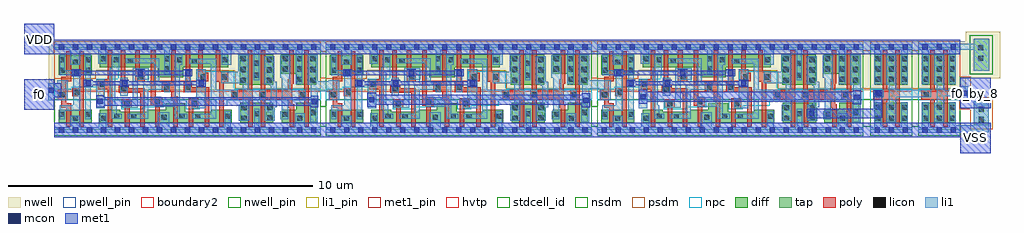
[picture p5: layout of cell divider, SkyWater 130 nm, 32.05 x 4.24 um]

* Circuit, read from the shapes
.subckt divider VDD VSS f0 f0_by_8
XM1 VSS f0 n1 VSS sky130_fd_pr__nfet_01v8 w=0.42 l=0.15
XM2 n2 n1 VSS VSS sky130_fd_pr__nfet_01v8 w=0.42 l=0.15
XM3 n3 sky130_fd_sc_hd__dfxbp_1_3/CLK VSS VSS sky130_fd_pr__nfet_01v8 w=0.42 l=0.15
XM4 n4 n1 n3 VSS sky130_fd_pr__nfet_01v8 w=0.36 l=0.15
XM5 n5 n2 n4 VSS sky130_fd_pr__nfet_01v8 w=0.36 l=0.15
XM6 VSS n6 n5 VSS sky130_fd_pr__nfet_01v8 w=0.42 l=0.15
XM7 n6 n4 VSS VSS sky130_fd_pr__nfet_01v8 w=0.64 l=0.15
XM8 n7 n2 n6 VSS sky130_fd_pr__nfet_01v8 w=0.36 l=0.15
XM9 n8 n1 n7 VSS sky130_fd_pr__nfet_01v8 w=0.36 l=0.15
XM10 VSS n9 n8 VSS sky130_fd_pr__nfet_01v8 w=0.42 l=0.15
XM11 VSS n7 n9 VSS sky130_fd_pr__nfet_01v8 w=0.65 l=0.15
XM12 sky130_fd_sc_hd__dfxbp_1_4/Q n9 VSS VSS sky130_fd_pr__nfet_01v8 w=0.65 l=0.15
XM13 VSS n9 n10 VSS sky130_fd_pr__nfet_01v8 w=0.42 l=0.15
XM14 sky130_fd_sc_hd__dfxbp_1_3/CLK n10 VSS VSS sky130_fd_pr__nfet_01v8 w=0.65 l=0.15
XM15 VSS sky130_fd_sc_hd__dfxbp_1_3/CLK n11 VSS sky130_fd_pr__nfet_01v8 w=0.42 l=0.15
XM16 n12 n11 VSS VSS sky130_fd_pr__nfet_01v8 w=0.42 l=0.15
XM17 n13 sky130_fd_sc_hd__dfxbp_1_2/CLK VSS VSS sky130_fd_pr__nfet_01v8 w=0.42 l=0.15
XM18 n14 n11 n13 VSS sky130_fd_pr__nfet_01v8 w=0.36 l=0.15
XM19 n15 n12 n14 VSS sky130_fd_pr__nfet_01v8 w=0.36 l=0.15
XM20 VSS n16 n15 VSS sky130_fd_pr__nfet_01v8 w=0.42 l=0.15
XM21 n16 n14 VSS VSS sky130_fd_pr__nfet_01v8 w=0.64 l=0.15
XM22 n17 n12 n16 VSS sky130_fd_pr__nfet_01v8 w=0.36 l=0.15
XM23 n18 n11 n17 VSS sky130_fd_pr__nfet_01v8 w=0.36 l=0.15
XM24 VSS n19 n18 VSS sky130_fd_pr__nfet_01v8 w=0.42 l=0.15
XM25 VSS n17 n19 VSS sky130_fd_pr__nfet_01v8 w=0.65 l=0.15
XM26 sky130_fd_sc_hd__dfxbp_1_3/Q n19 VSS VSS sky130_fd_pr__nfet_01v8 w=0.65 l=0.15
XM27 VSS n19 n20 VSS sky130_fd_pr__nfet_01v8 w=0.42 l=0.15
XM28 sky130_fd_sc_hd__dfxbp_1_2/CLK n20 VSS VSS sky130_fd_pr__nfet_01v8 w=0.65 l=0.15
XM29 VSS sky130_fd_sc_hd__dfxbp_1_2/CLK n21 VSS sky130_fd_pr__nfet_01v8 w=0.42 l=0.15
XM30 n22 n21 VSS VSS sky130_fd_pr__nfet_01v8 w=0.42 l=0.15
XM31 n23 sky130_fd_sc_hd__dfxbp_1_2/D VSS VSS sky130_fd_pr__nfet_01v8 w=0.42 l=0.15
XM32 n24 n21 n23 VSS sky130_fd_pr__nfet_01v8 w=0.36 l=0.15
XM33 n25 n22 n24 VSS sky130_fd_pr__nfet_01v8 w=0.36 l=0.15
XM34 VSS n26 n25 VSS sky130_fd_pr__nfet_01v8 w=0.42 l=0.15
XM35 n26 n24 VSS VSS sky130_fd_pr__nfet_01v8 w=0.64 l=0.15
XM36 n27 n22 n26 VSS sky130_fd_pr__nfet_01v8 w=0.36 l=0.15
XM37 n28 n21 n27 VSS sky130_fd_pr__nfet_01v8 w=0.36 l=0.15
XM38 VSS n29 n28 VSS sky130_fd_pr__nfet_01v8 w=0.42 l=0.15
XM39 VSS n27 n29 VSS sky130_fd_pr__nfet_01v8 w=0.65 l=0.15
XM40 sky130_fd_sc_hd__inv_2_1/A n29 VSS VSS sky130_fd_pr__nfet_01v8 w=0.65 l=0.15
XM41 VSS n29 n30 VSS sky130_fd_pr__nfet_01v8 w=0.42 l=0.15
XM42 sky130_fd_sc_hd__dfxbp_1_2/D n30 VSS VSS sky130_fd_pr__nfet_01v8 w=0.65 l=0.15
XM43 sky130_fd_sc_hd__inv_2_0/A sky130_fd_sc_hd__inv_2_1/A VSS VSS sky130_fd_pr__nfet_01v8 w=0.65 l=0.15 m=2
XM44 f0_by_8 sky130_fd_sc_hd__inv_2_0/A VSS VSS sky130_fd_pr__nfet_01v8 w=0.65 l=0.15 m=2
XM45 VDD f0 n1 VDD sky130_fd_pr__pfet_01v8_hvt w=0.64 l=0.15
XM46 n2 n1 VDD VDD sky130_fd_pr__pfet_01v8_hvt w=0.64 l=0.15
XM47 n3 sky130_fd_sc_hd__dfxbp_1_3/CLK VDD VDD sky130_fd_pr__pfet_01v8_hvt w=0.42 l=0.15
XM48 n4 n2 n3 VDD sky130_fd_pr__pfet_01v8_hvt w=0.42 l=0.15
XM49 n31 n1 n4 VDD sky130_fd_pr__pfet_01v8_hvt w=0.42 l=0.15
XM50 VDD n6 n31 VDD sky130_fd_pr__pfet_01v8_hvt w=0.42 l=0.15
XM51 n6 n4 VDD VDD sky130_fd_pr__pfet_01v8_hvt w=0.75 l=0.15
XM52 n7 n1 n6 VDD sky130_fd_pr__pfet_01v8_hvt w=0.42 l=0.15
XM53 n32 n2 n7 VDD sky130_fd_pr__pfet_01v8_hvt w=0.42 l=0.15
XM54 VDD n9 n32 VDD sky130_fd_pr__pfet_01v8_hvt w=0.42 l=0.15
XM55 VDD n7 n9 VDD sky130_fd_pr__pfet_01v8_hvt w=1 l=0.15
XM56 sky130_fd_sc_hd__dfxbp_1_4/Q n9 VDD VDD sky130_fd_pr__pfet_01v8_hvt w=1 l=0.15
XM57 VDD n9 n10 VDD sky130_fd_pr__pfet_01v8_hvt w=0.64 l=0.15
XM58 sky130_fd_sc_hd__dfxbp_1_3/CLK n10 VDD VDD sky130_fd_pr__pfet_01v8_hvt w=1 l=0.15
XM59 VDD sky130_fd_sc_hd__dfxbp_1_3/CLK n11 VDD sky130_fd_pr__pfet_01v8_hvt w=0.64 l=0.15
XM60 n12 n11 VDD VDD sky130_fd_pr__pfet_01v8_hvt w=0.64 l=0.15
XM61 n13 sky130_fd_sc_hd__dfxbp_1_2/CLK VDD VDD sky130_fd_pr__pfet_01v8_hvt w=0.42 l=0.15
XM62 n14 n12 n13 VDD sky130_fd_pr__pfet_01v8_hvt w=0.42 l=0.15
XM63 n33 n11 n14 VDD sky130_fd_pr__pfet_01v8_hvt w=0.42 l=0.15
XM64 VDD n16 n33 VDD sky130_fd_pr__pfet_01v8_hvt w=0.42 l=0.15
XM65 n16 n14 VDD VDD sky130_fd_pr__pfet_01v8_hvt w=0.75 l=0.15
XM66 n17 n11 n16 VDD sky130_fd_pr__pfet_01v8_hvt w=0.42 l=0.15
XM67 n34 n12 n17 VDD sky130_fd_pr__pfet_01v8_hvt w=0.42 l=0.15
XM68 VDD n19 n34 VDD sky130_fd_pr__pfet_01v8_hvt w=0.42 l=0.15
XM69 VDD n17 n19 VDD sky130_fd_pr__pfet_01v8_hvt w=1 l=0.15
XM70 sky130_fd_sc_hd__dfxbp_1_3/Q n19 VDD VDD sky130_fd_pr__pfet_01v8_hvt w=1 l=0.15
XM71 VDD n19 n20 VDD sky130_fd_pr__pfet_01v8_hvt w=0.64 l=0.15
XM72 sky130_fd_sc_hd__dfxbp_1_2/CLK n20 VDD VDD sky130_fd_pr__pfet_01v8_hvt w=1 l=0.15
XM73 VDD sky130_fd_sc_hd__dfxbp_1_2/CLK n21 VDD sky130_fd_pr__pfet_01v8_hvt w=0.64 l=0.15
XM74 n22 n21 VDD VDD sky130_fd_pr__pfet_01v8_hvt w=0.64 l=0.15
XM75 n23 sky130_fd_sc_hd__dfxbp_1_2/D VDD VDD sky130_fd_pr__pfet_01v8_hvt w=0.42 l=0.15
XM76 n24 n22 n23 VDD sky130_fd_pr__pfet_01v8_hvt w=0.42 l=0.15
XM77 n35 n21 n24 VDD sky130_fd_pr__pfet_01v8_hvt w=0.42 l=0.15
XM78 VDD n26 n35 VDD sky130_fd_pr__pfet_01v8_hvt w=0.42 l=0.15
XM79 n26 n24 VDD VDD sky130_fd_pr__pfet_01v8_hvt w=0.75 l=0.15
XM80 n27 n21 n26 VDD sky130_fd_pr__pfet_01v8_hvt w=0.42 l=0.15
XM81 n36 n22 n27 VDD sky130_fd_pr__pfet_01v8_hvt w=0.42 l=0.15
XM82 VDD n29 n36 VDD sky130_fd_pr__pfet_01v8_hvt w=0.42 l=0.15
XM83 VDD n27 n29 VDD sky130_fd_pr__pfet_01v8_hvt w=1 l=0.15
XM84 sky130_fd_sc_hd__inv_2_1/A n29 VDD VDD sky130_fd_pr__pfet_01v8_hvt w=1 l=0.15
XM85 VDD n29 n30 VDD sky130_fd_pr__pfet_01v8_hvt w=0.64 l=0.15
XM86 sky130_fd_sc_hd__dfxbp_1_2/D n30 VDD VDD sky130_fd_pr__pfet_01v8_hvt w=1 l=0.15
XM87 sky130_fd_sc_hd__inv_2_0/A sky130_fd_sc_hd__inv_2_1/A VDD VDD sky130_fd_pr__pfet_01v8_hvt w=1 l=0.15 m=2
XM88 f0_by_8 sky130_fd_sc_hd__inv_2_0/A VDD VDD sky130_fd_pr__pfet_01v8_hvt w=1 l=0.15 m=2
.ends

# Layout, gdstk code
import gdstk
lib = gdstk.Library(unit=1e-6, precision=1e-09)
def R(c, l, rs):  # rectangles x0, y0, x1, y1
    for r in rs: c.add(gdstk.rectangle(r[:2], r[2:], *l))
def A(c, l, x, y, w, h, nx, ny, dx, dy):  # array of equal rectangles
    R(c, l, [(x+i*dx, y+j*dy, x+i*dx+w, y+j*dy+h) for i in range(nx) for j in range(ny)])
def P(c, l, *ps):  # polygons
    for p in ps: c.add(gdstk.Polygon(p, *l))
nwell_pin = (64, 16)
nwell = (64, 20)
diff = (65, 20)
tap = (65, 44)
poly = (66, 20)
licon = (66, 44)
li1_pin = (67, 16)
li1 = (67, 20)
mcon = (67, 44)
met1_pin = (68, 16)
met1 = (68, 20)
hvtp = (78, 44)
stdcell_id = (81, 4)
nsdm = (93, 44)
psdm = (94, 20)
npc = (95, 20)
pwell_pin = (122, 16)
boundary2 = (236, 0)

sky130_fd_sc_hd__inv_2 = lib.new_cell('sky130_fd_sc_hd__inv_2')
R(sky130_fd_sc_hd__inv_2, nwell_pin, [(0.145,2.635,0.315,2.805)])
R(sky130_fd_sc_hd__inv_2, nwell, [(-0.19,1.305,1.57,2.91)])
R(sky130_fd_sc_hd__inv_2, diff, [(0.145,0.235,1.235,0.885), (0.145,1.485,1.235,2.485)])
P(sky130_fd_sc_hd__inv_2, poly, [(0.975,2.615),(0.825,2.615),(0.825,1.325),(0.555,1.325),(0.555,2.615),(0.405,2.615),(0.405,1.325),(0.105,1.325),(0.105,0.995),(0.405,0.995),(0.405,0.105),(0.555,0.105),(0.555,0.995),(0.825,0.995),(0.825,0.105),(0.975,0.105)])
A(sky130_fd_sc_hd__inv_2, licon, 0.185, 0.295, 0.17, 0.17, 3, 2, 0.42, 0.36)
A(sky130_fd_sc_hd__inv_2, licon, 0.185, 1.575, 0.17, 0.17, 3, 3, 0.42, 0.34)
R(sky130_fd_sc_hd__inv_2, licon, [(0.185,1.075,0.355,1.245)])
A(sky130_fd_sc_hd__inv_2, li1_pin, 0.605, 0.765, 0.17, 0.17, 1, 3, 0, 0.34)
R(sky130_fd_sc_hd__inv_2, li1_pin, [(0.145,1.105,0.315,1.275)])
R(sky130_fd_sc_hd__inv_2, li1, [(0.105,1.075,0.435,1.325)])
P(sky130_fd_sc_hd__inv_2, li1, [(1.38,2.805),(0,2.805),(0,2.635),(0.125,2.635),(0.125,1.495),(0.355,1.495),(0.355,2.635),(1.025,2.635),(1.025,1.495),(1.235,1.495),(1.235,2.635),(1.38,2.635)],
  [(0.855,2.465),(0.525,2.465),(0.525,1.485),(0.605,1.485),(0.605,0.885),(0.525,0.885),(0.525,0.255),(0.855,0.255)],
  [(1.38,0.085),(1.235,0.085),(1.235,0.905),(1.025,0.905),(1.025,0.085),(0.355,0.085),(0.355,0.905),(0.125,0.905),(0.125,0.085),(0,0.085),(0,-0.085),(1.38,-0.085)])
A(sky130_fd_sc_hd__inv_2, mcon, 0.145, -0.085, 0.17, 0.17, 3, 2, 0.46, 2.72)
R(sky130_fd_sc_hd__inv_2, met1_pin, [(0.145,-0.085,0.315,0.085), (0.145,2.635,0.315,2.805)])
R(sky130_fd_sc_hd__inv_2, hvtp, [(0,1.25,1.38,2.72)])
R(sky130_fd_sc_hd__inv_2, stdcell_id, [(0,0,1.38,2.72)])
R(sky130_fd_sc_hd__inv_2, nsdm, [(0,-0.19,1.38,1.015)])
R(sky130_fd_sc_hd__inv_2, psdm, [(0,1.355,1.38,2.91)])
R(sky130_fd_sc_hd__inv_2, npc, [(0,0.975,1.38,1.345)])
R(sky130_fd_sc_hd__inv_2, pwell_pin, [(0.145,-0.085,0.315,0.085)])
R(sky130_fd_sc_hd__inv_2, boundary2, [(0,0,1.38,2.72)])
sky130_fd_sc_hd__inv_2.add(gdstk.FlexPath([(0,2.72),(1.38,2.72)], 0.48, ends="flush", simple_path=True, layer=68, datatype=20))  # met1
sky130_fd_sc_hd__inv_2.add(gdstk.FlexPath([(0,0),(1.38,0)], 0.48, ends="flush", simple_path=True, layer=68, datatype=20))  # met1
sky130_fd_sc_hd__inv_2.add(gdstk.Label('A', (0.23,1.19), layer=67, texttype=5))
sky130_fd_sc_hd__inv_2.add(gdstk.Label('Y', (0.69,0.85), layer=67, texttype=5))
sky130_fd_sc_hd__inv_2.add(gdstk.Label('Y', (0.69,1.53), layer=67, texttype=5))
sky130_fd_sc_hd__inv_2.add(gdstk.Label('Y', (0.69,1.19), layer=67, texttype=5))
sky130_fd_sc_hd__inv_2.add(gdstk.Label('VPB', (0.23,2.72), layer=64, texttype=5))
sky130_fd_sc_hd__inv_2.add(gdstk.Label('VNB', (0.23,0), layer=64, texttype=59))
sky130_fd_sc_hd__inv_2.add(gdstk.Label('VPWR', (0.23,2.72), layer=68, texttype=5))
sky130_fd_sc_hd__inv_2.add(gdstk.Label('VGND', (0.23,0), layer=68, texttype=5))
sky130_fd_sc_hd__inv_2.add(gdstk.Label('inv_2', (0,0), layer=83, texttype=44))

sky130_fd_sc_hd__dfxbp_1 = lib.new_cell('sky130_fd_sc_hd__dfxbp_1')
R(sky130_fd_sc_hd__dfxbp_1, nwell_pin, [(0.145,2.635,0.315,2.805), (0.145,2.635,0.315,2.805)])
R(sky130_fd_sc_hd__dfxbp_1, nwell, [(-0.19,1.305,8.93,2.91)])
R(sky130_fd_sc_hd__dfxbp_1, diff, [(0.135,0.235,1.225,0.655), (6.1,0.235,7.19,0.885), (6.08,1.485,7.18,2.485), (0.135,1.815,1.225,2.455)])
P(sky130_fd_sc_hd__dfxbp_1, diff, [(5.71,2.485),(1.495,2.485),(1.495,2.065),(3.395,2.065),(3.395,1.735),(4.23,1.735),(4.23,2.065),(5.71,2.065)],
  [(5.82,0.655),(5.16,0.655),(5.16,0.595),(4.3,0.595),(4.3,0.875),(3.65,0.875),(3.65,0.655),(3.055,0.655),(3.055,0.595),(2.155,0.595),(2.155,0.655),(1.495,0.655),(1.495,0.235),(5.82,0.235)],
  [(8.605,2.485),(7.45,2.485),(7.45,1.845),(7.935,1.845),(7.935,1.485),(8.605,1.485)],
  [(8.605,0.885),(7.945,0.885),(7.945,0.655),(7.46,0.655),(7.46,0.235),(8.605,0.235)])
P(sky130_fd_sc_hd__dfxbp_1, poly, [(0.545,0.88),(0.38,0.88),(0.38,1.59),(0.545,1.59),(0.545,2.585),(0.395,2.585),(0.395,1.74),(0.23,1.74),(0.23,1.325),(0.11,1.325),(0.11,0.995),(0.23,0.995),(0.23,0.73),(0.395,0.73),(0.395,0.105),(0.545,0.105)],
  [(0.965,2.585),(0.815,2.585),(0.815,1.37),(0.59,1.37),(0.59,1.1),(0.815,1.1),(0.815,0.105),(0.965,0.105)],
  [(1.905,2.615),(1.755,2.615),(1.755,1.665),(1.43,1.665),(1.43,1.335),(1.755,1.335),(1.755,0.105),(1.905,0.105)],
  [(2.545,1.005),(2.215,1.005),(2.215,0.735),(2.315,0.735),(2.315,0.105),(2.465,0.105),(2.465,0.735),(2.545,0.735)],
  [(2.96,1.905),(2.805,1.905),(2.805,2.615),(2.655,2.615),(2.655,1.575),(2.96,1.575)],
  [(2.96,1.365),(2.445,1.365),(2.445,1.485),(2.33,1.485),(2.33,2.615),(2.18,2.615),(2.18,1.485),(2.115,1.485),(2.115,1.215),(2.81,1.215),(2.81,0.105),(2.96,0.105)],
  [(3.54,1.065),(3.32,1.065),(3.32,2.615),(3.17,2.615),(3.17,0.795),(3.305,0.795),(3.305,0.105),(3.455,0.105),(3.455,0.795),(3.54,0.795)],
  [(5.7,1.905),(5.445,1.905),(5.445,2.615),(5.295,2.615),(5.295,1.575),(5.41,1.575),(5.41,0.105),(5.56,0.105),(5.56,1.575),(5.7,1.575)],
  [(6.51,1.325),(6.5,1.325),(6.5,2.615),(6.35,2.615),(6.35,1.325),(5.8,1.325),(5.8,0.995),(6.36,0.995),(6.36,0.105),(6.51,0.105)],
  [(7.87,0.85),(7.815,0.85),(7.815,1.515),(7.86,1.515),(7.86,2.615),(7.71,2.615),(7.71,1.665),(7.665,1.665),(7.665,1.325),(6.92,1.325),(6.92,2.615),(6.77,2.615),(6.77,1.325),(6.72,1.325),(6.72,0.995),(6.78,0.995),(6.78,0.105),(6.93,0.105),(6.93,0.995),(7.665,0.995),(7.665,0.73),(7.72,0.73),(7.72,0.105),(7.87,0.105)],
  [(4.05,1.1),(3.98,1.1),(3.98,2.615),(3.83,2.615),(3.83,1.545),(3.53,1.545),(3.53,1.275),(3.83,1.275),(3.83,0.95),(3.9,0.95),(3.9,0.105),(4.05,0.105)],
  [(4.725,1.035),(4.405,1.035),(4.405,0.105),(4.555,0.105),(4.555,0.705),(4.725,0.705)],
  [(8.345,2.615),(8.195,2.615),(8.195,1.325),(8.025,1.325),(8.025,0.995),(8.195,0.995),(8.195,0.105),(8.345,0.105)],
  [(5.05,1.875),(4.875,1.875),(4.875,2.615),(4.725,2.615),(4.725,1.875),(4.72,1.875),(4.72,1.605),(5.05,1.605)],
  [(5.085,1.395),(4.51,1.395),(4.51,1.575),(4.455,1.575),(4.455,2.615),(4.305,2.615),(4.305,1.575),(4.24,1.575),(4.24,1.245),(4.935,1.245),(4.935,0.105),(5.085,0.105)])
A(sky130_fd_sc_hd__dfxbp_1, licon, 6.12, 1.545, 0.17, 0.17, 1, 3, 0, 0.355)
A(sky130_fd_sc_hd__dfxbp_1, licon, 6.97, 1.545, 0.17, 0.17, 1, 3, 0, 0.34)
A(sky130_fd_sc_hd__dfxbp_1, licon, 8.395, 1.545, 0.17, 0.17, 1, 3, 0, 0.355)
A(sky130_fd_sc_hd__dfxbp_1, licon, 7.975, 1.575, 0.17, 0.17, 1, 3, 0, 0.34)
R(sky130_fd_sc_hd__dfxbp_1, licon, [(0.595,0.295,0.765,0.465), (1.535,0.295,1.705,0.465), (7.975,0.295,8.145,0.465), (6.14,0.3,6.31,0.47), (6.98,0.31,7.15,0.48), (3.51,0.335,3.68,0.505), (1.96,0.365,2.13,0.535), (2.515,0.365,2.685,0.535), (4.105,0.365,4.275,0.535), (4.62,0.365,4.79,0.535), (5.61,0.365,5.78,0.535), (0.175,0.425,0.345,0.595), (1.015,0.425,1.185,0.595), (7.5,0.425,7.67,0.595), (6.56,0.445,6.73,0.615), (8.395,0.485,8.565,0.655), (6.14,0.64,6.31,0.81), (6.98,0.65,7.15,0.82), (2.295,0.785,2.465,0.955), (4.505,0.785,4.675,0.955), (3.29,0.845,3.46,1.015), (0.16,1.075,0.33,1.245), (5.85,1.075,6.02,1.245), (6.77,1.075,6.94,1.245), (8.075,1.075,8.245,1.245), (0.67,1.15,0.84,1.32), (2.195,1.265,2.365,1.435), (3.61,1.325,3.78,1.495), (4.29,1.325,4.46,1.495), (1.48,1.415,1.65,1.585), (2.74,1.655,2.91,1.825), (4.8,1.655,4.97,1.825), (5.48,1.655,5.65,1.825), (6.55,1.705,6.72,1.875), (0.175,1.875,0.345,2.045), (1.015,1.875,1.185,2.045), (3.61,1.915,3.78,2.085), (7.49,1.915,7.66,2.085), (6.55,2.105,6.72,2.275), (0.595,2.135,0.765,2.305), (4.505,2.165,4.675,2.335), (2.415,2.19,2.585,2.36), (0.175,2.215,0.345,2.385), (1.015,2.215,1.185,2.385), (1.955,2.215,2.125,2.385), (4.03,2.215,4.2,2.385), (5.5,2.215,5.67,2.385), (1.535,2.255,1.705,2.425), (3.61,2.255,3.78,2.425), (7.49,2.255,7.66,2.425)])
R(sky130_fd_sc_hd__dfxbp_1, li1_pin, [(6.95,0.425,7.12,0.595), (0.145,1.105,0.315,1.275), (1.445,1.105,1.615,1.275), (8.425,1.52,8.595,1.69)])
R(sky130_fd_sc_hd__dfxbp_1, li1, [(1.015,0.345,1.2,2.465), (1.37,0.715,1.65,1.665), (0.09,0.975,0.44,1.625), (2.16,1.125,2.4,1.72), (4.29,1.245,4.48,1.965)])
P(sky130_fd_sc_hd__dfxbp_1, li1, [(0.84,1.965),(0.345,1.965),(0.345,2.465),(0.175,2.465),(0.175,1.795),(0.61,1.795),(0.61,0.805),(0.175,0.805),(0.175,0.345),(0.345,0.345),(0.345,0.635),(0.84,0.635)],
  [(2.21,0.535),(2.045,0.535),(2.045,0.805),(1.99,0.805),(1.99,1.91),(2.125,1.91),(2.125,2.465),(1.875,2.465),(1.875,2.04),(1.82,2.04),(1.82,0.675),(1.875,0.675),(1.875,0.365),(2.21,0.365)],
  [(3.1,2.02),(2.57,2.02),(2.57,0.955),(2.215,0.955),(2.215,0.735),(2.74,0.735),(2.74,1.655),(3.1,1.655)],
  [(3.78,1.575),(3.44,1.575),(3.44,2.36),(2.335,2.36),(2.335,2.19),(3.27,2.19),(3.27,1.485),(2.91,1.485),(2.91,0.535),(2.405,0.535),(2.405,0.365),(3.08,0.365),(3.08,1.315),(3.61,1.315),(3.61,1.245),(3.78,1.245)],
  [(4.355,0.535),(4.12,0.535),(4.12,2.135),(4.2,2.135),(4.2,2.465),(3.95,2.465),(3.95,1.065),(3.49,1.065),(3.49,1.095),(3.29,1.095),(3.29,0.765),(3.95,0.765),(3.95,0.365),(4.355,0.365)],
  [(4.97,1.995),(4.65,1.995),(4.65,1.035),(4.505,1.035),(4.505,0.705),(4.97,0.705)],
  [(8.74,0.085),(8.225,0.085),(8.225,0.545),(7.905,0.545),(7.905,0.085),(6.73,0.085),(6.73,0.695),(6.56,0.695),(6.56,0.085),(5.795,0.085),(5.795,0.615),(5.585,0.615),(5.585,0.085),(3.77,0.085),(3.77,0.585),(3.4,0.585),(3.4,0.085),(1.705,0.085),(1.705,0.545),(1.455,0.545),(1.455,0.085),(0.845,0.085),(0.845,0.465),(0.515,0.465),(0.515,0.085),(0,0.085),(0,-0.085),(8.74,-0.085)],
  [(6.02,1.325),(5.31,1.325),(5.31,2.335),(4.425,2.335),(4.425,2.165),(5.14,2.165),(5.14,0.535),(4.525,0.535),(4.525,0.365),(5.31,0.365),(5.31,0.995),(6.02,0.995)],
  [(6.94,1.325),(6.38,1.325),(6.38,2.465),(6.04,2.465),(6.04,1.905),(5.48,1.905),(5.48,1.53),(6.19,1.53),(6.19,0.825),(6.06,0.825),(6.06,0.3),(6.39,0.3),(6.39,0.995),(6.94,0.995)],
  [(7.3,1.575),(7.22,1.575),(7.22,2.42),(6.89,2.42),(6.89,1.495),(7.065,1.495),(7.065,1.445),(7.11,1.445),(7.11,0.865),(7.055,0.865),(7.055,0.825),(6.9,0.825),(6.9,0.305),(7.23,0.305),(7.23,0.74),(7.3,0.74)],
  [(8.245,1.325),(7.74,1.325),(7.74,2.445),(7.41,2.445),(7.41,1.715),(7.47,1.715),(7.47,0.615),(7.42,0.615),(7.42,0.345),(7.67,0.345),(7.67,0.995),(8.245,0.995)],
  [(8.65,2.465),(8.315,2.465),(8.315,1.48),(8.415,1.48),(8.415,0.91),(8.395,0.91),(8.395,0.255),(8.65,0.255)],
  [(8.74,2.805),(0,2.805),(0,2.635),(0.515,2.635),(0.515,2.135),(0.845,2.135),(0.845,2.635),(1.44,2.635),(1.44,2.175),(1.705,2.175),(1.705,2.635),(3.61,2.635),(3.61,1.835),(3.78,1.835),(3.78,2.635),(5.49,2.635),(5.49,2.135),(5.805,2.135),(5.805,2.635),(6.55,2.635),(6.55,1.625),(6.72,1.625),(6.72,2.635),(7.93,2.635),(7.93,1.495),(8.145,1.495),(8.145,2.635),(8.74,2.635)])
A(sky130_fd_sc_hd__dfxbp_1, mcon, 0.145, -0.085, 0.17, 0.17, 19, 2, 0.46, 2.72)
R(sky130_fd_sc_hd__dfxbp_1, mcon, [(1.025,1.445,1.195,1.615), (2.215,1.445,2.385,1.615), (4.735,1.445,4.905,1.615), (0.63,1.785,0.8,1.955), (2.73,1.785,2.9,1.955), (4.3,1.785,4.47,1.955)])
R(sky130_fd_sc_hd__dfxbp_1, met1_pin, [(0.145,-0.085,0.315,0.085), (0.145,2.635,0.315,2.805)])
P(sky130_fd_sc_hd__dfxbp_1, met1, [(4.965,1.645),(4.675,1.645),(4.675,1.6),(2.445,1.6),(2.445,1.645),(2.155,1.645),(2.155,1.6),(1.255,1.6),(1.255,1.645),(0.965,1.645),(0.965,1.415),(1.255,1.415),(1.255,1.46),(2.155,1.46),(2.155,1.415),(2.445,1.415),(2.445,1.46),(4.675,1.46),(4.675,1.415),(4.965,1.415)],
  [(4.53,1.985),(4.24,1.985),(4.24,1.94),(2.96,1.94),(2.96,1.985),(2.67,1.985),(2.67,1.94),(0.86,1.94),(0.86,1.985),(0.57,1.985),(0.57,1.755),(0.86,1.755),(0.86,1.8),(2.67,1.8),(2.67,1.755),(2.96,1.755),(2.96,1.8),(4.24,1.8),(4.24,1.755),(4.53,1.755)])
R(sky130_fd_sc_hd__dfxbp_1, hvtp, [(0,1.25,8.74,2.72)])
R(sky130_fd_sc_hd__dfxbp_1, stdcell_id, [(0,0,8.74,2.72)])
R(sky130_fd_sc_hd__dfxbp_1, nsdm, [(0,-0.19,8.74,1.015)])
P(sky130_fd_sc_hd__dfxbp_1, psdm, [(8.74,2.91),(0,2.91),(0,1.685),(1.35,1.685),(1.35,1.935),(3.24,1.935),(3.24,1.605),(4.665,1.605),(4.665,1.935),(5.93,1.935),(5.93,1.355),(8.74,1.355)])
P(sky130_fd_sc_hd__dfxbp_1, npc, [(8.74,1.345),(5.91,1.345),(5.91,1.925),(4.675,1.925),(4.675,1.595),(3.085,1.595),(3.085,1.925),(2.095,1.925),(2.095,1.685),(1.38,1.685),(1.38,1.42),(0.565,1.42),(0.565,1.345),(0,1.345),(0,0.975),(2.195,0.975),(2.195,0.685),(2.905,0.685),(2.905,0.745),(3.59,0.745),(3.59,0.975),(4.32,0.975),(4.32,0.685),(4.775,0.685),(4.775,0.795),(5.675,0.795),(5.675,0.975),(8.74,0.975)])
R(sky130_fd_sc_hd__dfxbp_1, pwell_pin, [(0.145,-0.085,0.315,0.085), (0.145,-0.085,0.315,0.085)])
R(sky130_fd_sc_hd__dfxbp_1, boundary2, [(0,0,8.74,2.72)])
sky130_fd_sc_hd__dfxbp_1.add(gdstk.FlexPath([(0,2.72),(8.74,2.72)], 0.48, ends="flush", simple_path=True, layer=68, datatype=20))  # met1
sky130_fd_sc_hd__dfxbp_1.add(gdstk.FlexPath([(0,0),(8.74,0)], 0.48, ends="flush", simple_path=True, layer=68, datatype=20))  # met1
sky130_fd_sc_hd__dfxbp_1.add(gdstk.Label('VGND', (0.23,0), layer=68, texttype=5))
sky130_fd_sc_hd__dfxbp_1.add(gdstk.Label('VPWR', (0.23,2.72), layer=68, texttype=5))
sky130_fd_sc_hd__dfxbp_1.add(gdstk.Label('Q_N', (8.52,1.61), layer=67, texttype=5))
sky130_fd_sc_hd__dfxbp_1.add(gdstk.Label('D', (1.535,1.19), layer=67, texttype=5))
sky130_fd_sc_hd__dfxbp_1.add(gdstk.Label('CLK', (0.23,1.19), layer=67, texttype=5))
sky130_fd_sc_hd__dfxbp_1.add(gdstk.Label('Q', (7.035,0.51), layer=67, texttype=5))
sky130_fd_sc_hd__dfxbp_1.add(gdstk.Label('VNB', (0.23,0), layer=64, texttype=59))
sky130_fd_sc_hd__dfxbp_1.add(gdstk.Label('VNB', (0.23,0), layer=64, texttype=59))
sky130_fd_sc_hd__dfxbp_1.add(gdstk.Label('VPB', (0.23,2.72), layer=64, texttype=5))
sky130_fd_sc_hd__dfxbp_1.add(gdstk.Label('VPB', (0.23,2.72), layer=64, texttype=5))
sky130_fd_sc_hd__dfxbp_1.add(gdstk.Label('dfxbp_1', (0,0), layer=83, texttype=44))

divider = lib.new_cell('divider')
R(divider, nwell, [(29.93,4.7,31.05,6.23)])
R(divider, tap, [(30.19,3.15,30.68,3.94), (30.18,4.95,30.69,5.99)])
R(divider, licon, [(30.345,3.255,30.515,3.425), (30.345,3.595,30.515,3.765), (30.335,5.27,30.505,5.44), (30.335,5.61,30.505,5.78)])
R(divider, li1, [(29.59,2.92,30.68,3.15), (30.19,3.15,30.68,3.94), (24.76,3.44,24.97,3.65), (8.44,3.8,8.63,4.07), (17.34,3.8,17.57,4.14), (1.4,3.81,1.59,4.08), (10.3,3.82,10.53,4.16), (26.24,3.9,26.47,4.24), (19.21,3.92,19.44,4.26), (-0.2,3.98,0.18,4.07), (29.76,3.98,30.01,4.11), (-0.2,4.07,0.22,4.54), (27.62,4.08,28.51,4.32), (26.96,4.1,27.13,4.27), (29.17,4.11,30.01,4.31), (8.51,4.27,9.02,4.6), (29.76,4.31,30.01,4.43), (17.42,4.35,17.95,4.63), (30.18,4.95,30.69,5.64), (29.72,5.64,30.69,5.78), (28.36,5.78,30.69,5.83), (30.18,5.83,30.69,5.99)])
R(divider, mcon, [(24.78,3.46,24.95,3.63), (8.45,3.85,8.62,4.02), (1.41,3.86,1.58,4.03), (17.37,3.885,17.54,4.055), (10.33,3.905,10.5,4.075), (26.27,3.985,26.44,4.155), (19.24,4.005,19.41,4.175), (26.96,4.1,27.13,4.27), (29.8,4.12,29.97,4.29), (-0.195,4.215,-0.025,4.385)])
R(divider, met1_pin, [(29.74,2.24,30.74,3.24), (-1,3.67,0,4.67), (29.74,3.71,30.74,4.71), (-1,5.48,0,6.48)])
R(divider, met1, [(29.74,2.24,30.74,2.76), (0,2.76,30.74,3.24), (24.74,3.39,27.15,3.4), (24.74,3.4,27.19,3.41), (24.7,3.41,27.19,3.68), (-1,3.67,0,4), (24.74,3.68,27.19,3.69), (26.9,3.69,27.19,4.3), (29.74,3.71,30.74,3.92), (8.41,3.74,8.66,3.8), (17.31,3.74,17.6,3.83), (1.37,3.75,1.62,3.8), (10.27,3.76,10.56,3.83), (1.37,3.8,8.66,4.08), (10.27,3.83,17.6,4.16), (26.21,3.84,26.5,3.93), (19.18,3.86,19.47,3.93), (29.73,3.92,30.74,4.49), (19.18,3.93,26.5,4.26), (-1,4,0.01,4.07), (-1,4.07,0.22,4.54), (1.37,4.08,1.62,4.14), (8.41,4.08,8.66,4.13), (10.27,4.16,10.56,4.22), (17.31,4.16,17.6,4.2), (19.18,4.26,19.47,4.32), (26.21,4.26,26.5,4.3), (29.74,4.49,30.74,4.71), (-1,4.54,0.01,4.6), (-1,4.6,0,4.67), (-1,5.48,29.74,5.96), (-1,5.96,0,6.48)])
R(divider, nsdm, [(8.73,3.11,8.92,3.78), (17.64,3.11,17.83,3.78), (26.55,3.11,26.81,4.01), (28.15,3.11,28.38,4.01), (30.055,4.825,30.815,6.115)])
R(divider, psdm, [(30.065,3.025,30.805,3.685), (29.72,3.685,30.805,4.01), (29.7,4.01,30.805,4.065), (29.7,4.065,30.085,4.36), (26.55,4.36,26.81,5.61), (28.15,4.36,28.38,5.61), (29.72,4.36,30.085,4.74), (8.73,4.69,8.92,5.58), (17.64,4.69,17.83,5.58)])
divider.add(gdstk.Reference(sky130_fd_sc_hd__inv_2, (28.36,3)))
divider.add(gdstk.Reference(sky130_fd_sc_hd__inv_2, (26.79,3)))
divider.add(gdstk.Reference(sky130_fd_sc_hd__dfxbp_1, (17.82,3)))
divider.add(gdstk.Reference(sky130_fd_sc_hd__dfxbp_1, (8.91,3)))
divider.add(gdstk.Reference(sky130_fd_sc_hd__dfxbp_1, (0,3)))
divider.add(gdstk.Label('f0', (-0.5,4.17), layer=68, texttype=5))
divider.add(gdstk.Label('VDD', (-0.5,5.98), layer=68, texttype=5))
divider.add(gdstk.Label('f0_by_8', (30.24,4.21), layer=68, texttype=5))
divider.add(gdstk.Label('VSS', (30.24,2.74), layer=68, texttype=5))

lib.write_gds('divider.gds')
